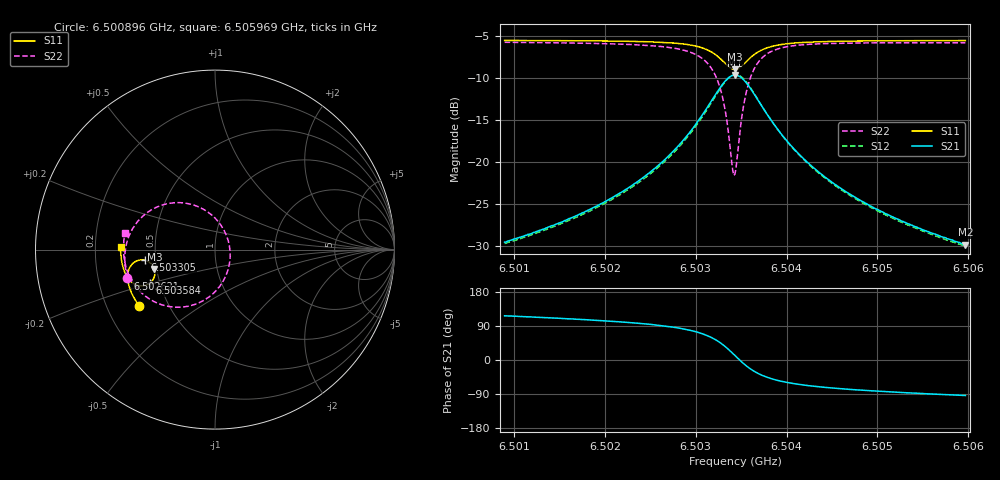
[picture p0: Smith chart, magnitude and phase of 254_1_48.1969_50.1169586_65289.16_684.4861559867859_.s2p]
#  HZ  S  RI  R  50.00
! Rohde & Schwarz Vector Network Analyzer
! Rohde-Schwarz,ZNB20-2Port,1311601062101988,3.16
! Created: UTC 3/20/2024, 11:47:23 AM
! freq[Hz]  re:S11  im:S11  re:S21  im:S21  re:S12  im:S12  re:S22  im:S22
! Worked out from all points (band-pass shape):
!   401 points, 6.500896 GHz to 6.505969 GHz, reference 50 ohm
!   highest |S21| = -9.68 dB at 6.503432 GHz (marker M1); lowest = -29.9 dB at 6.505969 GHz (marker M2)
!   |S21| within 3 dB of the highest: 6.503178 GHz to 6.503686 GHz (507.7 kHz wide, 0.00781 % of centre)
!   lowest |S11| = -9.0 dB at 6.503432 GHz (marker M3), VSWR 2.10, Z = 24.3 - j5.98 ohm
!   |S11| at or under -10 dB: nowhere
!   |S22| runs from -21.6 to -5.8 dB; largest |S21 - S12| = 0.011
!   S11 on the Smith chart (normalised r, x): 6.500896 GHz: 0.34, -0.29; 6.502621 GHz: 0.33, -0.15; 6.503305 GHz: 0.44, -0.06; 6.503584 GHz: 0.44, -0.20; 6.505969 GHz: 0.31, +0.01
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6.5008958e9  -0.4238 -0.3126  -0.0149 0.0297  -0.0133 0.0299  -0.4884 -0.159
6.5017455e9  -0.4606 -0.2503  -0.0143 0.0474  -0.0119 0.0469  -0.5024 -0.0694
6.5022148e9  -0.4773 -0.2089  -0.0115 0.0667  -0.00849 0.0656  -0.4999 -0.00335
6.5025953e9  -0.4865 -0.1672  -0.00261 0.0958  0.00106 0.0936  -0.4807 0.072
6.5026206e9  -0.4868 -0.164  -0.00127 0.0987  0.00228 0.0962  -0.4783 0.0781
6.5029123e9  -0.4832 -0.1194  0.0258 0.1424  0.0295 0.1379  -0.4218 0.1669
6.5031026e9  -0.4621 -0.0813  0.0798 0.1842  0.0821 0.1781  -0.3185 0.2394
6.5032167e9  -0.4296 -0.0606  0.1484 0.2018  0.1494 0.1954  -0.1944 0.2615
6.5033055e9  -0.3894 -0.059  0.2278 0.1855  0.2281 0.1804  -0.0578 0.2208
6.5033435e9  -0.3703 -0.0666  0.2639 0.1624  0.2647 0.1577  0.00193 0.1738
6.5034069e9  -0.3438 -0.0932  0.3113 0.0983  0.3139 0.0934  0.0734 0.0508
6.5034323e9  -0.3374 -0.1077  0.3214 0.0662  0.3245 0.0604  0.084 -0.00914
6.5034577e9  -0.3345 -0.1234  0.3249 0.0327  0.3282 0.0256  0.0817 -0.0701
6.5035211e9  -0.3416 -0.1604  0.3066 -0.045  0.3087 -0.0548  0.0259 -0.2049
6.5035845e9  -0.3628 -0.1862  0.2638 -0.0988  0.2626 -0.11  -0.0706 -0.2872
6.503686e9  -0.4022 -0.2014  0.1893 -0.1346  0.1841 -0.144  -0.2202 -0.3208
6.5038508e9  -0.4483 -0.1916  0.1079 -0.1315  0.1011 -0.1365  -0.3668 -0.2743
6.5040284e9  -0.4754 -0.1703  0.0638 -0.1114  0.0575 -0.1137  -0.4386 -0.2094
6.504282e9  -0.4962 -0.1403  0.0338 -0.0874  0.0291 -0.0878  -0.4817 -0.1376
6.5046625e9  -0.5117 -0.1009  0.0148 -0.0643  0.0116 -0.0638  -0.5041 -0.0628
6.5051318e9  -0.5211 -0.0576  0.00513 -0.0478  0.00272 -0.0471  -0.5102 0.00304
6.5059688e9  -0.5259 0.0131  -0.00207 -0.0321  -0.00341 -0.0313  -0.5022 0.0912
